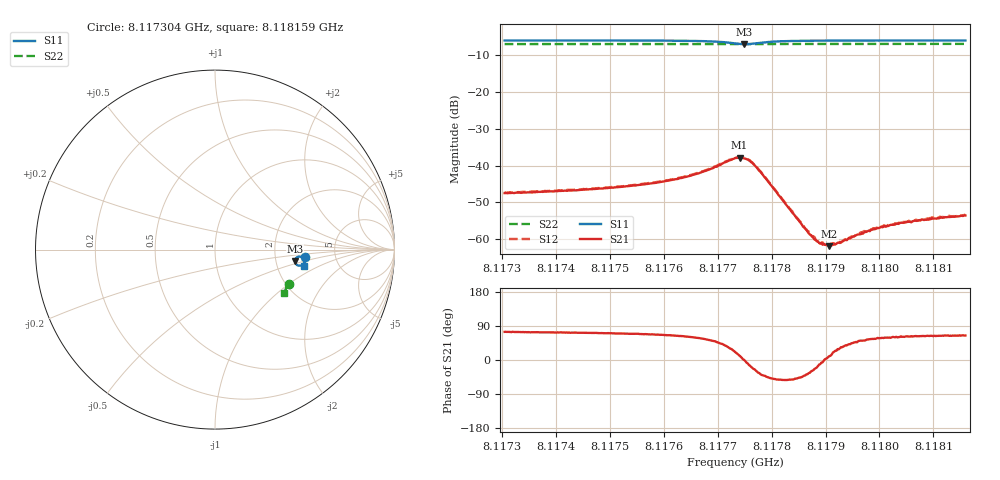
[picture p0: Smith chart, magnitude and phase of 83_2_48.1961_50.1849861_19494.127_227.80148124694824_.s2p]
#  HZ  S  RI  R  50.00
! Rohde & Schwarz Vector Network Analyzer
! Rohde-Schwarz,ZNB20-2Port,1311601062101988,3.16
! Created: UTC 3/20/2024, 11:39:46 AM
! freq[Hz]  re:S11  im:S11  re:S21  im:S21  re:S12  im:S12  re:S22  im:S22
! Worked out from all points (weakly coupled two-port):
!   401 points, 8.117304 GHz to 8.118159 GHz, reference 50 ohm
!   highest |S21| = -37.83 dB at 8.11774 GHz (marker M1); lowest = -62.0 dB at 8.117907 GHz (marker M2)
!   lowest |S11| = -6.9 dB at 8.117749 GHz (marker M3), VSWR 2.64, Z = 128 - j20.2 ohm
!   |S11| at or under -10 dB: nowhere
!   |S22| runs from -6.9 to -6.9 dB; largest |S21 - S12| = 0.00044
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8.1173044e9  0.5039 -0.041  0.00115 0.00406  0.00124 0.00411  0.4098 -0.1895
8.1174476e9  0.5023 -0.0539  0.00147 0.00446  0.00151 0.00447  0.4059 -0.1988
8.1175203e9  0.5006 -0.0612  0.00176 0.00481  0.00184 0.00488  0.4037 -0.2034
8.1175908e9  0.4979 -0.0696  0.00235 0.00543  0.00244 0.00551  0.4017 -0.2081
8.1176293e9  0.4949 -0.0754  0.00301 0.00601  0.00311 0.00607  0.4004 -0.2105
8.1176614e9  0.4904 -0.0813  0.00402 0.00661  0.0042 0.0067  0.399 -0.2127
8.1177319e9  0.4533 -0.0828  0.0117 0.00471  0.0119 0.0046  0.3954 -0.2165
8.1177405e9  0.4474 -0.0742  0.0126 0.0025  0.0128 0.00238  0.3949 -0.2166
8.117749e9  0.4454 -0.0629  0.0125 3.49e-05  0.0128 -0.000313  0.3947 -0.2165
8.1177597e9  0.4505 -0.0491  0.0111 -0.00302  0.0113 -0.00318  0.3948 -0.2167
8.1177747e9  0.4649 -0.0395  0.00743 -0.00487  0.00757 -0.00499  0.395 -0.2173
8.1178089e9  0.488 -0.0452  0.00271 -0.0034  0.00275 -0.00349  0.395 -0.2197
8.1178602e9  0.4968 -0.059  0.00108 -0.000951  0.00109 -0.000979  0.3937 -0.2235
8.1178752e9  0.4976 -0.062  0.000955 -0.000517  0.000949 -0.000493  0.3933 -0.2247
8.117888e9  0.498 -0.0643  0.000862 -0.000186  0.000865 -0.000216  0.3928 -0.2255
8.1179008e9  0.4983 -0.0664  0.000826 4.94e-05  0.000831 5.22e-06  0.3925 -0.2262
8.1179072e9  0.4984 -0.0675  0.000785 0.00014  0.000807 0.000151  0.3922 -0.2269
8.1179286e9  0.4984 -0.0705  0.000756 0.000508  0.000745 0.000484  0.3916 -0.2281
8.1179671e9  0.4984 -0.0753  0.000761 0.000935  0.00081 0.000932  0.3904 -0.2306
8.1180184e9  0.4982 -0.0809  0.00078 0.00132  0.000809 0.00133  0.3885 -0.2338
8.1180975e9  0.497 -0.0884  0.000843 0.00171  0.000909 0.00174  0.3859 -0.2388
8.1181595e9  0.4963 -0.0937  0.000898 0.00189  0.000947 0.00191  0.3838 -0.2425
